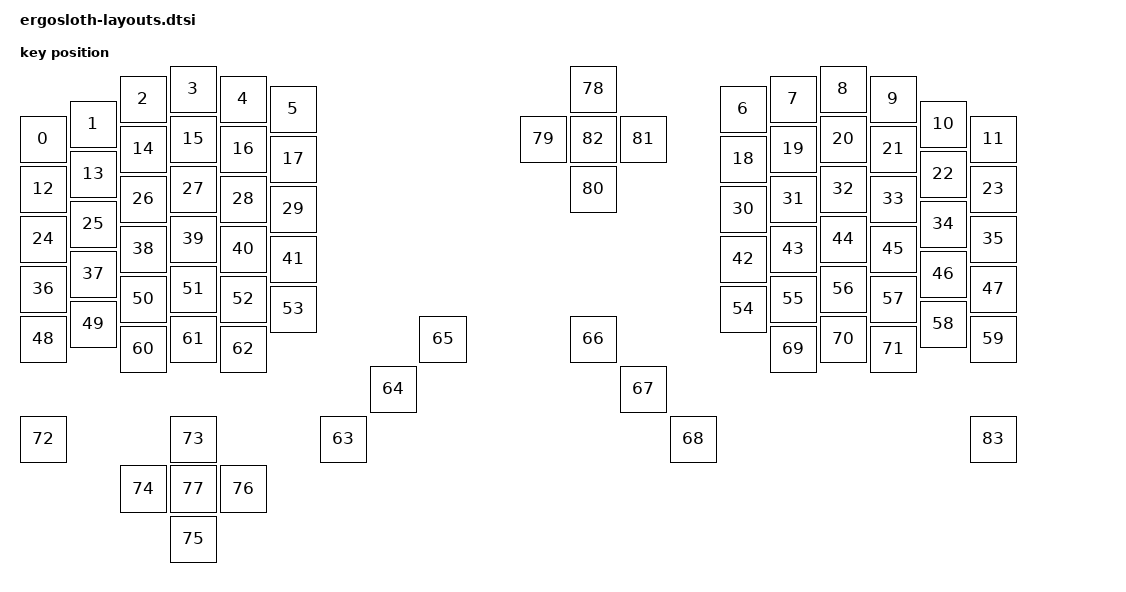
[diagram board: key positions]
/*
 * Copyright (c) 2020 Pete Johanson
 *
 * SPDX-License-Identifier: MIT
 */


#include <physical_layouts.dtsi>

/ {
    physical_layout0: physical_layout_0 {
        compatible = "zmk,physical-layout";
        display-name = "ERGOSLOTH Default";
        kscan = <&kscan0>;
        transform = <&default_transform>;

        keys  //                     w   h    x    y     rot    rx    ry
            = <&key_physical_attrs 100 100    0  100       0     0     0>
            , <&key_physical_attrs 100 100  100   70       0     0     0>
            , <&key_physical_attrs 100 100  200   20       0     0     0>
            , <&key_physical_attrs 100 100  300    0       0     0     0>
            , <&key_physical_attrs 100 100  400   20       0     0     0>
            , <&key_physical_attrs 100 100  500   40       0     0     0>
            , <&key_physical_attrs 100 100 1400   40       0     0     0>
            , <&key_physical_attrs 100 100 1500   20       0     0     0>
            , <&key_physical_attrs 100 100 1600    0       0     0     0>
            , <&key_physical_attrs 100 100 1700   20       0     0     0>
            , <&key_physical_attrs 100 100 1800   70       0     0     0>
            , <&key_physical_attrs 100 100 1900  100       0     0     0>
            , <&key_physical_attrs 100 100    0  200       0     0     0>
            , <&key_physical_attrs 100 100  100  170       0     0     0>
            , <&key_physical_attrs 100 100  200  120       0     0     0>
            , <&key_physical_attrs 100 100  300  100       0     0     0>
            , <&key_physical_attrs 100 100  400  120       0     0     0>
            , <&key_physical_attrs 100 100  500  140       0     0     0>
            , <&key_physical_attrs 100 100 1400  140       0     0     0>
            , <&key_physical_attrs 100 100 1500  120       0     0     0>
            , <&key_physical_attrs 100 100 1600  100       0     0     0>
            , <&key_physical_attrs 100 100 1700  120       0     0     0>
            , <&key_physical_attrs 100 100 1800  170       0     0     0>
            , <&key_physical_attrs 100 100 1900  200       0     0     0>
            , <&key_physical_attrs 100 100    0  300       0     0     0>
            , <&key_physical_attrs 100 100  100  270       0     0     0>
            , <&key_physical_attrs 100 100  200  220       0     0     0>
            , <&key_physical_attrs 100 100  300  200       0     0     0>
            , <&key_physical_attrs 100 100  400  220       0     0     0>
            , <&key_physical_attrs 100 100  500  240       0     0     0>
            , <&key_physical_attrs 100 100 1400  240       0     0     0>
            , <&key_physical_attrs 100 100 1500  220       0     0     0>
            , <&key_physical_attrs 100 100 1600  200       0     0     0>
            , <&key_physical_attrs 100 100 1700  220       0     0     0>
            , <&key_physical_attrs 100 100 1800  270       0     0     0>
            , <&key_physical_attrs 100 100 1900  300       0     0     0>
            , <&key_physical_attrs 100 100    0  400       0     0     0>
            , <&key_physical_attrs 100 100  100  370       0     0     0>
            , <&key_physical_attrs 100 100  200  320       0     0     0>
            , <&key_physical_attrs 100 100  300  300       0     0     0>
            , <&key_physical_attrs 100 100  400  320       0     0     0>
            , <&key_physical_attrs 100 100  500  340       0     0     0>
            , <&key_physical_attrs 100 100 1400  340       0     0     0>
            , <&key_physical_attrs 100 100 1500  320       0     0     0>
            , <&key_physical_attrs 100 100 1600  300       0     0     0>
            , <&key_physical_attrs 100 100 1700  320       0     0     0>
            , <&key_physical_attrs 100 100 1800  370       0     0     0>
            , <&key_physical_attrs 100 100 1900  400       0     0     0>
            , <&key_physical_attrs 100 100    0  500       0     0     0>
            , <&key_physical_attrs 100 100  100  470       0     0     0>
            , <&key_physical_attrs 100 100  200  420       0     0     0>
            , <&key_physical_attrs 100 100  300  400       0     0     0>
            , <&key_physical_attrs 100 100  400  420       0     0     0>
            , <&key_physical_attrs 100 100  500  440       0     0     0>
            , <&key_physical_attrs 100 100 1400  440       0     0     0>
            , <&key_physical_attrs 100 100 1500  420       0     0     0>
            , <&key_physical_attrs 100 100 1600  400       0     0     0>
            , <&key_physical_attrs 100 100 1700  420       0     0     0>
            , <&key_physical_attrs 100 100 1800  470       0     0     0>
            , <&key_physical_attrs 100 100 1900  500       0     0     0>
            , <&key_physical_attrs 100 100  200  520       0     0     0>
            , <&key_physical_attrs 100 100  300  500       0     0     0>
            , <&key_physical_attrs 100 100  400  520       0     0     0>
            , <&key_physical_attrs 100 100  600  700       0     0     0>
            , <&key_physical_attrs 100 100  700  600       0     0     0>
            , <&key_physical_attrs 100 100  800  500       0     0     0>
            , <&key_physical_attrs 100 100 1100  500       0     0     0>
            , <&key_physical_attrs 100 100 1200  600       0     0     0>
            , <&key_physical_attrs 100 100 1300  700       0     0     0>
            , <&key_physical_attrs 100 100 1500  520       0     0     0>
            , <&key_physical_attrs 100 100 1600  500       0     0     0>
            , <&key_physical_attrs 100 100 1700  520       0     0     0>
            , <&key_physical_attrs 100 100    0  700       0     0     0>
            , <&key_physical_attrs 100 100  300  700       0     0     0>
            , <&key_physical_attrs 100 100  200  800       0     0     0>
            , <&key_physical_attrs 100 100  300  900       0     0     0>
            , <&key_physical_attrs 100 100  400  800       0     0     0>
            , <&key_physical_attrs 100 100  300  800       0     0     0>
            , <&key_physical_attrs 100 100 1100    0       0     0     0>
            , <&key_physical_attrs 100 100 1000  100       0     0     0>
            , <&key_physical_attrs 100 100 1100  200       0     0     0>
            , <&key_physical_attrs 100 100 1200  100       0     0     0>
            , <&key_physical_attrs 100 100 1100  100       0     0     0>
            , <&key_physical_attrs 100 100 1900  700       0     0     0>
;
    };
};
